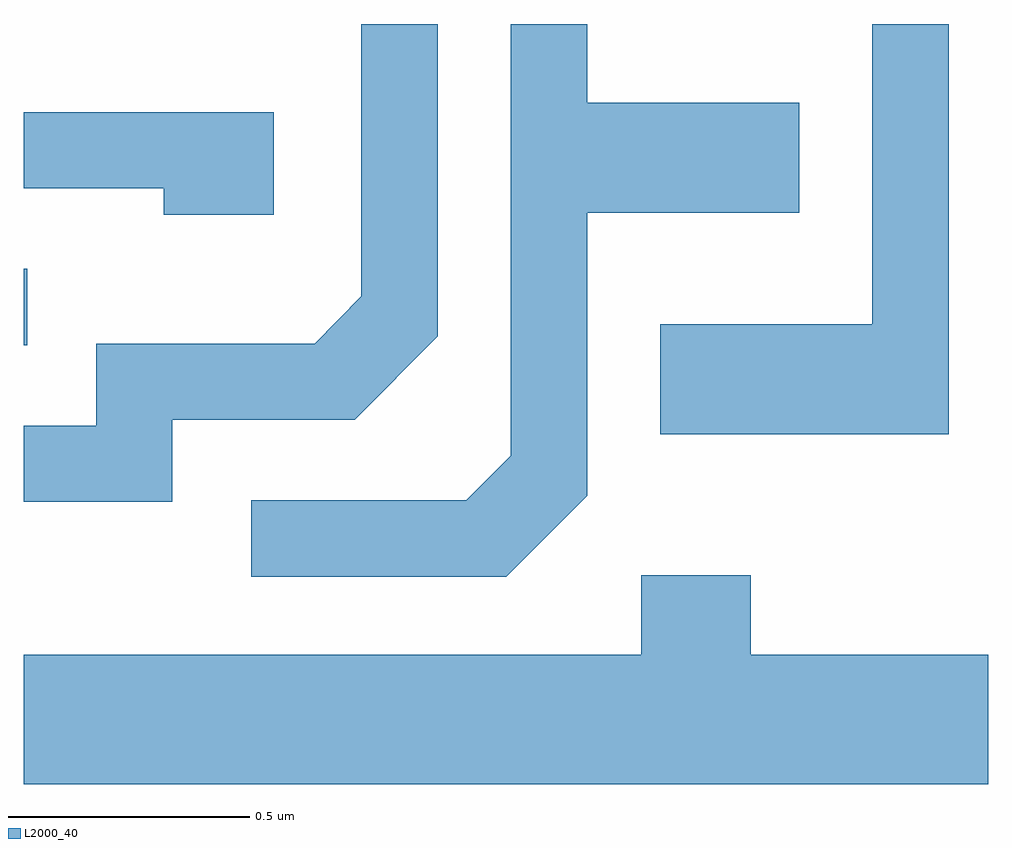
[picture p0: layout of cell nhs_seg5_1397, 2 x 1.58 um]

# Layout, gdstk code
import gdstk
lib = gdstk.Library(unit=1e-6, precision=1e-09)
def R(c, l, rs):  # rectangles x0, y0, x1, y1
    for r in rs: c.add(gdstk.rectangle(r[:2], r[2:], *l))
def P(c, l, *ps):  # polygons
    for p in ps: c.add(gdstk.Polygon(p, *l))
L2000_40 = (2000, 40)

nhs_seg5_1397 = lib.new_cell('nhs_seg5_1397')
R(nhs_seg5_1397, L2000_40, [(195.611,1424.406,195.618,1424.564)])
P(nhs_seg5_1397, L2000_40, [(196.779,1424.094),(196.779,1424.681),(197.219,1424.681),(197.219,1424.909),(196.779,1424.909),(196.779,1425.072),(196.621,1425.072),(196.621,1424.177),(196.529,1424.084),(196.083,1424.084),(196.083,1423.926),(196.612,1423.926)],
  [(197.529,1425.072),(197.371,1425.072),(197.371,1424.449),(196.931,1424.449),(196.931,1424.221),(197.529,1424.221)],
  [(195.919,1424.251),(196.297,1424.251),(196.469,1424.424),(196.469,1425.072),(196.311,1425.072),(196.311,1424.507),(196.214,1424.409),(195.761,1424.409),(195.761,1424.239),(195.611,1424.239),(195.611,1424.081),(195.919,1424.081)],
  [(196.129,1424.889),(195.611,1424.889),(195.611,1424.731),(195.901,1424.731),(195.901,1424.676),(196.129,1424.676)],
  [(197.611,1423.764),(197.119,1423.764),(197.119,1423.929),(196.891,1423.929),(196.891,1423.764),(195.611,1423.764),(195.611,1423.496),(197.611,1423.496)])

lib.write_gds('nhs_seg5_1397.gds')
